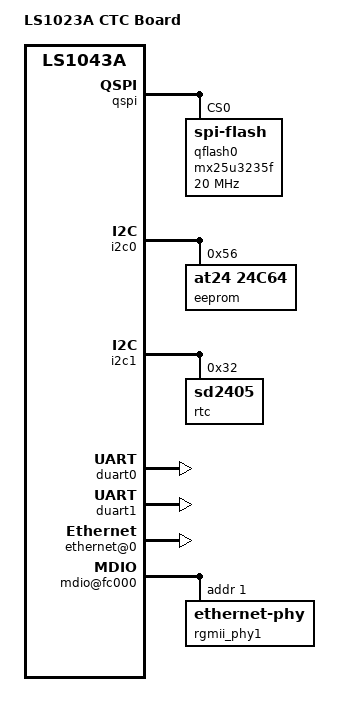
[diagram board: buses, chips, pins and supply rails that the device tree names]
/*
 * Device Tree Include file for Freescale Layerscape-1043A family SoC.
 *
 * Copyright (C) 2015, Freescale Semiconductor
 *
 * Mingkai Hu <Mingkai.hu@freescale.com>
 *
 * This file is licensed under the terms of the GNU General Public
 * License version 2.  This program is licensed "as is" without any
 * warranty of any kind, whether express or implied.
 */

/dts-v1/;
#include "fsl-ls1043a.dtsi"

/ {
	model = "LS1023A CTC Board";

	aliases {
		spi0 = &qspi;
	};

	irq@0{
		compatible = "fsl,ctc-irq";
		device_type = "irq";
		interrupts = <0 135 0x4>, /* GPIO1_23 IRQ3 167-32 */
			     <0 136 0x4>, /* GPIO1_24 IRQ4 168-32 */
			     <0 137 0x4>; /* GPIO1_25 IRG5 169-32 */
	};
};

&qspi {
        bus-num = <0>;
        status = "okay";

        qflash0: mx25u3235f@0 {
                #address-cells = <1>;
                #size-cells = <1>;
                compatible = "spi-flash";
                spi-max-frequency = <20000000>;
                reg = <0>;
        };
};

&i2c0 {
	status = "okay";
	eeprom@56 {
		compatible = "at24,24c64";
		reg = <0x56>;
	};
};

&i2c1 {
	status = "okay";
	fsl-scl-gpio = <&gpio4 10 0>;
	fsl-scl-reset = <&gpio1 24 0>;
	rtc@32 {
		compatible = "sd2405";
		reg = <0x32>;
	};
};

&wdog0 {
	status = "disabled";
};

&crypto{
       status = "disabled";
};

&duart0 {
	status = "okay";
};

&duart1 {
	status = "okay";
};

&soc {
/* include used FMan blocks */
#include "qoriq-fman3-0.dtsi"
#include "qoriq-fman3-0-1g-2.dtsi"
};

&fman0 {
	enet0:ethernet@e4000 {
		phy-handle = <&rgmii_phy1>;
		phy-connection-type = "rgmii-txid";
	};

	mdio@fc000 {
		rgmii_phy1: ethernet-phy@1 {
			reg = <0x1>;
		};
	};
};

&bman_fbpr {
	compatible = "fsl,bman-fbpr";
	alloc-ranges = <0 0 0x10000 0>;
};
&qman_fqd {
	compatible = "fsl,qman-fqd";
	alloc-ranges = <0 0 0x10000 0>;
};
&qman_pfdr {
	compatible = "fsl,qman-pfdr";
	alloc-ranges = <0 0 0x10000 0>;
};

&soc {
	fsldpaa: fsl,dpaa {
		compatible = "fsl,ls1043a-dpaa", "simple-bus", "fsl,dpaa";
		ethernet@0 {
			compatible = "fsl,dpa-ethernet";
			fsl,fman-mac = <&enet0>;
			dma-coherent;
		};
	};
};

&fman0 {
	compatible = "fsl,fman", "simple-bus";
};
